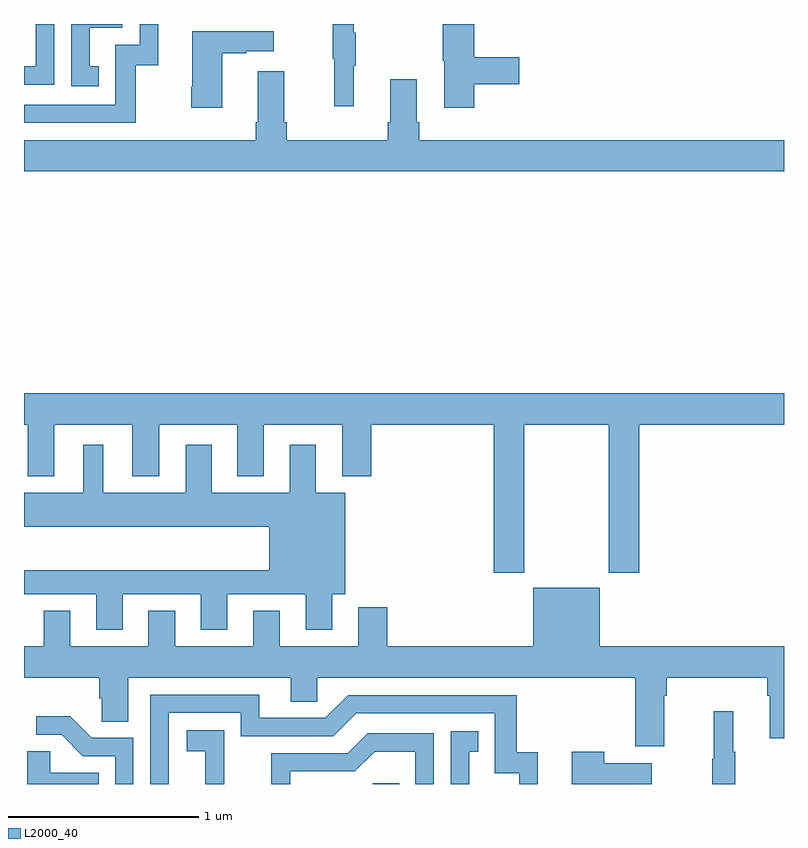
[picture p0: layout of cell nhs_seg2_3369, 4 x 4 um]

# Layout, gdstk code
import gdstk
lib = gdstk.Library(unit=1e-6, precision=1e-09)
def R(c, l, rs):  # rectangles x0, y0, x1, y1
    for r in rs: c.add(gdstk.rectangle(r[:2], r[2:], *l))
def P(c, l, *ps):  # polygons
    for p in ps: c.add(gdstk.Polygon(p, *l))
L2000_40 = (2000, 40)

nhs_seg2_3369 = lib.new_cell('nhs_seg2_3369')
R(nhs_seg2_3369, L2000_40, [(290.835,589.8,290.975,589.803)])
P(nhs_seg2_3369, L2000_40, [(290.735,593.579),(290.746,593.579),(290.746,593.753),(290.735,593.753),(290.735,593.8),(290.625,593.8),(290.625,593.616),(290.632,593.616),(290.632,593.367),(290.735,593.367)],
  [(289.394,593.577),(289.345,593.577),(289.345,593.781),(289.518,593.781),(289.518,593.8),(289.248,593.8),(289.248,593.472),(289.394,593.472)],
  [(289.588,593.583),(289.706,593.583),(289.706,593.8),(289.608,593.8),(289.608,593.691),(289.479,593.691),(289.479,593.376),(289,593.376),(289,593.28),(289.588,593.28)],
  [(289.158,593.8),(289.062,593.8),(289.062,593.578),(289,593.578),(289,593.481),(289.158,593.481)],
  [(291.371,593.482),(291.607,593.482),(291.607,593.624),(291.371,593.624),(291.371,593.8),(291.205,593.8),(291.205,593.607),(291.212,593.607),(291.212,593.358),(291.371,593.358)],
  [(290.044,593.647),(290.171,593.647),(290.171,593.657),(290.314,593.657),(290.314,593.761),(289.886,593.761),(289.886,593.47),(289.879,593.47),(289.879,593.358),(290.044,593.358)],
  [(293,593.188),(291.08,593.188),(291.08,593.284),(291.067,593.284),(291.067,593.509),(290.927,593.509),(290.927,593.284),(290.915,593.284),(290.915,593.188),(290.384,593.188),(290.384,593.284),(290.371,593.284),(290.371,593.551),(290.231,593.551),(290.231,593.284),(290.219,593.284),(290.219,593.188),(289,593.188),(289,593.024),(293,593.024)],
  [(291.633,591.692),(292.078,591.692),(292.078,590.913),(292.238,590.913),(292.238,591.692),(293,591.692),(293,591.856),(289,591.856),(289,591.692),(289.019,591.692),(289.019,591.419),(289.159,591.419),(289.159,591.692),(289.571,591.692),(289.571,591.419),(289.711,591.419),(289.711,591.692),(290.123,591.692),(290.123,591.419),(290.263,591.419),(290.263,591.692),(290.675,591.692),(290.675,591.419),(290.828,591.419),(290.828,591.692),(291.473,591.692),(291.473,590.913),(291.633,590.913)],
  [(289.519,590.798),(289.931,590.798),(289.931,590.613),(290.071,590.613),(290.071,590.798),(290.483,590.798),(290.483,590.613),(290.623,590.613),(290.623,590.798),(290.692,590.798),(290.692,591.334),(290.536,591.334),(290.536,591.586),(290.399,591.586),(290.399,591.334),(289.987,591.334),(289.987,591.586),(289.85,591.586),(289.85,591.334),(289.417,591.334),(289.417,591.586),(289.313,591.586),(289.313,591.334),(289,591.334),(289,591.155),(290.291,591.155),(290.291,590.926),(289,590.926),(289,590.798),(289.379,590.798),(289.379,590.613),(289.519,590.613)],
  [(292.369,590.264),(292.382,590.264),(292.382,590.36),(292.913,590.36),(292.913,590.264),(292.925,590.264),(292.925,590.04),(293,590.04),(293,590.524),(292.03,590.524),(292.03,590.833),(291.68,590.833),(291.68,590.524),(290.912,590.524),(290.912,590.731),(290.759,590.731),(290.759,590.524),(290.347,590.524),(290.347,590.713),(290.207,590.713),(290.207,590.524),(289.795,590.524),(289.795,590.713),(289.655,590.713),(289.655,590.524),(289.243,590.524),(289.243,590.713),(289.103,590.713),(289.103,590.524),(289,590.524),(289,590.36),(289.397,590.36),(289.397,590.251),(289.41,590.251),(289.41,590.128),(289.549,590.128),(289.549,590.36),(290.405,590.36),(290.405,590.233),(290.544,590.233),(290.544,590.36),(292.217,590.36),(292.217,589.998),(292.369,589.998)],
  [(289.761,590.175),(290.142,590.175),(290.142,590.052),(290.628,590.052),(290.748,590.172),(291.477,590.172),(291.477,589.857),(291.606,589.857),(291.606,589.8),(291.704,589.8),(291.704,589.966),(291.593,589.966),(291.593,590.268),(290.706,590.268),(290.586,590.148),(290.239,590.148),(290.239,590.271),(289.665,590.271),(289.665,589.8),(289.761,589.8)],
  [(292.744,589.969),(292.733,589.969),(292.733,590.182),(292.63,590.182),(292.63,589.932),(292.623,589.932),(292.623,589.8),(292.744,589.8)],
  [(289.575,590.043),(289.356,590.043),(289.243,590.156),(289.065,590.156),(289.065,590.058),(289.199,590.058),(289.31,589.947),(289.479,589.947),(289.479,589.8),(289.575,589.8)],
  [(290.054,589.877),(290.055,589.877),(290.055,590.083),(289.857,590.083),(289.857,589.973),(289.955,589.973),(289.955,589.8),(290.054,589.8)],
  [(291.343,589.971),(291.392,589.971),(291.392,590.077),(291.246,590.077),(291.246,589.8),(291.343,589.8)],
  [(290.4,589.866),(290.742,589.866),(290.846,589.97),(291.06,589.97),(291.06,589.8),(291.156,589.8),(291.156,590.067),(290.81,590.067),(290.705,589.962),(290.302,589.962),(290.302,589.8),(290.4,589.8)],
  [(289.394,589.858),(289.137,589.858),(289.137,589.973),(289.016,589.973),(289.016,589.8),(289.394,589.8)],
  [(292.303,589.909),(292.055,589.909),(292.055,589.969),(291.884,589.969),(291.884,589.8),(292.303,589.8)])

lib.write_gds('nhs_seg2_3369.gds')
